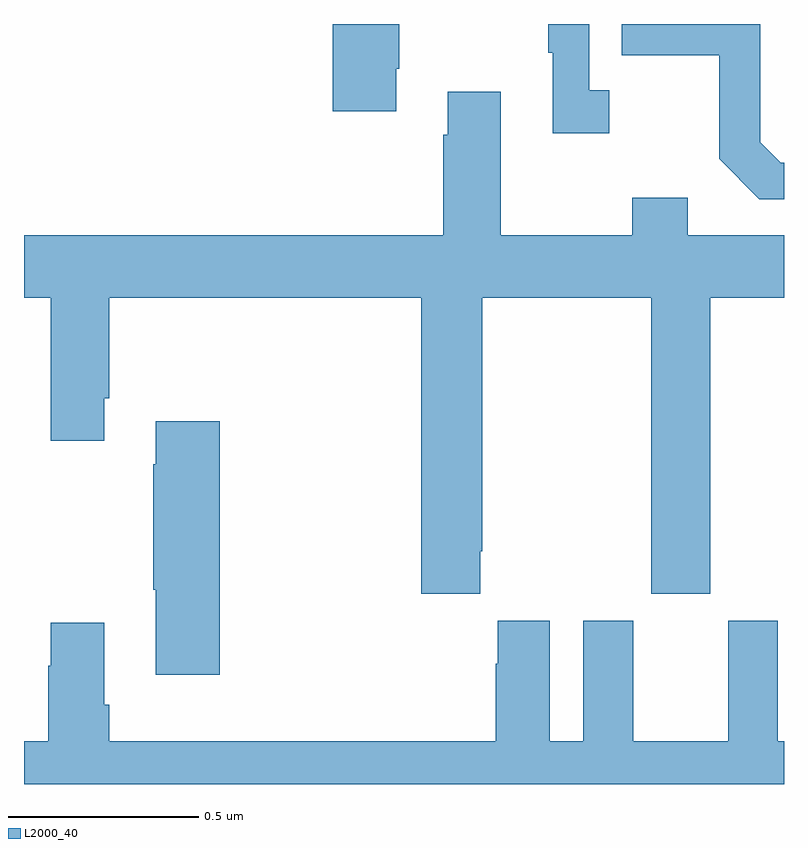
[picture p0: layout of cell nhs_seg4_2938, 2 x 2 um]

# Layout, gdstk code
import gdstk
lib = gdstk.Library(unit=1e-6, precision=1e-09)
def P(c, l, *ps):  # polygons
    for p in ps: c.add(gdstk.Polygon(p, *l))
L2000_40 = (2000, 40)

nhs_seg4_2938 = lib.new_cell('nhs_seg4_2938')
P(nhs_seg4_2938, L2000_40, [(147.979,770.782),(147.987,770.782),(147.987,770.9),(147.812,770.9),(147.812,770.67),(147.979,770.67)],
  [(148.54,770.726),(148.488,770.726),(148.488,770.9),(148.38,770.9),(148.38,770.825),(148.391,770.825),(148.391,770.613),(148.54,770.613)],
  [(149,770.535),(148.992,770.535),(148.938,770.589),(148.938,770.9),(148.573,770.9),(148.573,770.818),(148.83,770.818),(148.83,770.545),(148.935,770.439),(149,770.439)],
  [(148.201,769.513),(148.206,769.513),(148.206,770.18),(148.651,770.18),(148.651,769.401),(148.806,769.401),(148.806,770.18),(149,770.18),(149,770.344),(148.747,770.344),(148.747,770.443),(148.6,770.443),(148.6,770.344),(148.255,770.344),(148.255,770.722),(148.115,770.722),(148.115,770.609),(148.103,770.609),(148.103,770.344),(147,770.344),(147,770.18),(147.071,770.18),(147.071,769.803),(147.211,769.803),(147.211,769.915),(147.224,769.915),(147.224,770.18),(148.046,770.18),(148.046,769.401),(148.201,769.401)],
  [(147.515,769.855),(147.347,769.855),(147.347,769.742),(147.34,769.742),(147.34,769.411),(147.347,769.411),(147.347,769.188),(147.515,769.188)],
  [(149,769.012),(148.984,769.012),(148.984,769.33),(148.853,769.33),(148.853,769.012),(148.603,769.012),(148.603,769.33),(148.472,769.33),(148.472,769.012),(148.384,769.012),(148.384,769.33),(148.247,769.33),(148.247,769.217),(148.241,769.217),(148.241,769.012),(147.224,769.012),(147.224,769.108),(147.211,769.108),(147.211,769.324),(147.071,769.324),(147.071,769.211),(147.064,769.211),(147.064,769.012),(147,769.012),(147,768.9),(149,768.9)])

lib.write_gds('nhs_seg4_2938.gds')
